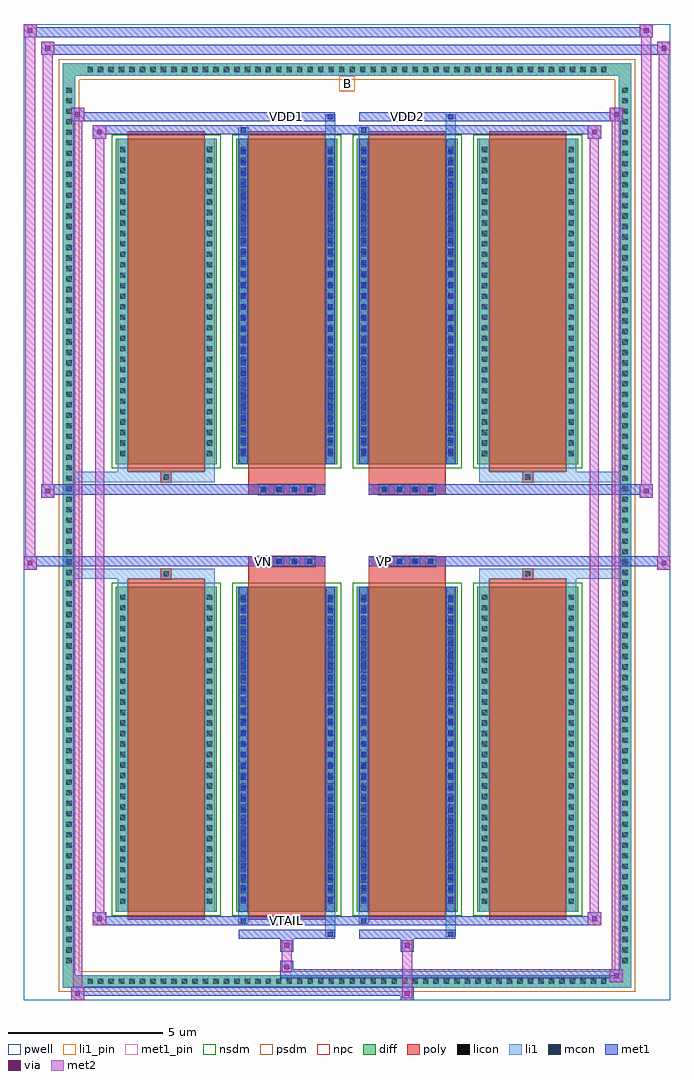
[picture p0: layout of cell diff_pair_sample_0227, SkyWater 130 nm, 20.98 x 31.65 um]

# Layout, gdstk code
import gdstk
lib = gdstk.Library(unit=1e-6, precision=5e-09)
def R(c, l, rs):  # rectangles x0, y0, x1, y1
    for r in rs: c.add(gdstk.rectangle(r[:2], r[2:], *l))
def A(c, l, x, y, w, h, nx, ny, dx, dy):  # array of equal rectangles
    R(c, l, [(x+i*dx, y+j*dy, x+i*dx+w, y+j*dy+h) for i in range(nx) for j in range(ny)])
def P(c, l, *ps):  # polygons
    for p in ps: c.add(gdstk.Polygon(p, *l))
pwell = (64, 44)
diff = (65, 20)
poly = (66, 20)
licon = (66, 44)
li1_pin = (67, 16)
li1 = (67, 20)
mcon = (67, 44)
met1_pin = (68, 16)
met1 = (68, 20)
via = (68, 44)
met2 = (69, 20)
nsdm = (93, 44)
psdm = (94, 20)
npc = (95, 20)

diff_pair_sample_0227 = lib.new_cell('diff_pair_sample_0227')
R(diff_pair_sample_0227, pwell, [(-10.49,-15.39,10.49,16.26), (-7.81,-13.58,-0.01,-0.8), (0.01,-13.58,7.81,-0.8), (-7.81,0.8,-0.01,13.58), (0.01,0.8,7.81,13.58)])
A(diff_pair_sample_0227, diff, -8.535, -14.99, 0.41, 0.41, 50, 2, 0.34, 29.57)
A(diff_pair_sample_0227, diff, -9.22, -14.315, 0.41, 0.41, 1, 84, 0, 0.34)
A(diff_pair_sample_0227, diff, 8.81, -14.315, 0.41, 0.41, 1, 84, 0, 0.34)
A(diff_pair_sample_0227, diff, -7.5, -12.535, 3.27, 10.55, 4, 2, 3.91, 14.52)
R(diff_pair_sample_0227, diff, [(-8.535,-14.99,8.535,-14.58), (-9.22,-14.315,-8.81,14.315), (8.81,-14.315,9.22,14.315), (-8.535,14.58,8.535,14.99)])
P(diff_pair_sample_0227, diff, [(9.22,14.99),(-9.22,14.99),(-9.22,-14.58),(-8.81,-14.58),(-8.81,14.58),(8.81,14.58),(8.81,-14.58),(-8.81,-14.58),(-9.22,-14.58),(-9.22,-14.99),(9.22,-14.99)])
A(diff_pair_sample_0227, poly, -7.11, -12.785, 2.49, 11.05, 4, 2, 3.91, 14.52)
A(diff_pair_sample_0227, poly, -2.87, -1.33, 0.33, 0.33, 4, 2, 0.5, 2.33)
A(diff_pair_sample_0227, poly, 1.04, -1.33, 0.33, 0.33, 4, 2, 0.5, 2.33)
R(diff_pair_sample_0227, poly, [(-6.03,-1.735,-5.7,-1.405), (-6.03,-1.735,-5.7,-1.405), (-3.2,-1.735,-0.71,-1.33), (0.71,-1.735,3.2,-1.33), (5.7,-1.735,6.03,-1.405), (5.7,-1.735,6.03,-1.405), (-3.2,-1.33,-0.71,-1), (0.71,-1.33,3.2,-1), (-3.2,1,-0.71,1.33), (0.71,1,3.2,1.33), (-3.2,1.33,-0.71,1.735), (0.71,1.33,3.2,1.735), (-6.03,1.405,-5.7,1.735), (-6.03,1.405,-5.7,1.735), (5.7,1.405,6.03,1.735), (5.7,1.405,6.03,1.735)])
A(diff_pair_sample_0227, licon, -8.415, -14.87, 0.17, 0.17, 50, 2, 0.34, 29.57)
A(diff_pair_sample_0227, licon, -9.1, -14.195, 0.17, 0.17, 1, 84, 0, 0.34)
A(diff_pair_sample_0227, licon, 8.93, -14.195, 0.17, 0.17, 1, 84, 0, 0.34)
A(diff_pair_sample_0227, licon, -7.36, -12.275, 0.17, 0.17, 1, 30, 0, 0.34)
A(diff_pair_sample_0227, licon, -4.54, -12.275, 0.17, 0.17, 1, 30, 0, 0.34)
A(diff_pair_sample_0227, licon, -3.45, -12.275, 0.17, 0.17, 1, 30, 0, 0.34)
A(diff_pair_sample_0227, licon, -0.63, -12.275, 0.17, 0.17, 1, 30, 0, 0.34)
A(diff_pair_sample_0227, licon, 0.46, -12.275, 0.17, 0.17, 1, 30, 0, 0.34)
A(diff_pair_sample_0227, licon, 3.28, -12.275, 0.17, 0.17, 1, 30, 0, 0.34)
A(diff_pair_sample_0227, licon, 4.37, -12.275, 0.17, 0.17, 1, 30, 0, 0.34)
A(diff_pair_sample_0227, licon, 7.19, -12.275, 0.17, 0.17, 1, 30, 0, 0.34)
A(diff_pair_sample_0227, licon, -2.79, -1.25, 0.17, 0.17, 4, 2, 0.5, 2.33)
A(diff_pair_sample_0227, licon, 1.12, -1.25, 0.17, 0.17, 4, 2, 0.5, 2.33)
A(diff_pair_sample_0227, licon, -7.36, 2.245, 0.17, 0.17, 1, 30, 0, 0.34)
A(diff_pair_sample_0227, licon, -4.54, 2.245, 0.17, 0.17, 1, 30, 0, 0.34)
A(diff_pair_sample_0227, licon, -3.45, 2.245, 0.17, 0.17, 1, 30, 0, 0.34)
A(diff_pair_sample_0227, licon, -0.63, 2.245, 0.17, 0.17, 1, 30, 0, 0.34)
A(diff_pair_sample_0227, licon, 0.46, 2.245, 0.17, 0.17, 1, 30, 0, 0.34)
A(diff_pair_sample_0227, licon, 3.28, 2.245, 0.17, 0.17, 1, 30, 0, 0.34)
A(diff_pair_sample_0227, licon, 4.37, 2.245, 0.17, 0.17, 1, 30, 0, 0.34)
A(diff_pair_sample_0227, licon, 7.19, 2.245, 0.17, 0.17, 1, 30, 0, 0.34)
R(diff_pair_sample_0227, licon, [(-5.95,-1.655,-5.78,-1.485), (5.78,-1.655,5.95,-1.485), (-5.95,1.485,-5.78,1.655), (5.78,1.485,5.95,1.655)])
R(diff_pair_sample_0227, li1_pin, [(-0.25,14.08,0.25,14.58)])
A(diff_pair_sample_0227, li1, -8.495, -14.95, 0.33, 0.33, 50, 2, 0.34, 29.57)
A(diff_pair_sample_0227, li1, -9.18, -14.275, 0.33, 0.33, 1, 84, 0, 0.34)
A(diff_pair_sample_0227, li1, 8.85, -14.275, 0.33, 0.33, 1, 84, 0, 0.34)
A(diff_pair_sample_0227, li1, -7.44, -12.355, 0.33, 0.33, 1, 30, 0, 0.34)
A(diff_pair_sample_0227, li1, -4.62, -12.355, 0.33, 0.33, 1, 30, 0, 0.34)
A(diff_pair_sample_0227, li1, -3.53, -12.355, 0.33, 0.33, 1, 30, 0, 0.34)
A(diff_pair_sample_0227, li1, -0.71, -12.355, 0.33, 0.33, 1, 30, 0, 0.34)
A(diff_pair_sample_0227, li1, 0.38, -12.355, 0.33, 0.33, 1, 30, 0, 0.34)
A(diff_pair_sample_0227, li1, 3.2, -12.355, 0.33, 0.33, 1, 30, 0, 0.34)
A(diff_pair_sample_0227, li1, 4.29, -12.355, 0.33, 0.33, 1, 30, 0, 0.34)
A(diff_pair_sample_0227, li1, 7.11, -12.355, 0.33, 0.33, 1, 30, 0, 0.34)
A(diff_pair_sample_0227, li1, -3.45, -12.205, 0.17, 0.17, 1, 28, 0, 0.36)
A(diff_pair_sample_0227, li1, -0.63, -12.205, 0.17, 0.17, 1, 28, 0, 0.36)
A(diff_pair_sample_0227, li1, 0.46, -12.205, 0.17, 0.17, 1, 28, 0, 0.36)
A(diff_pair_sample_0227, li1, 3.28, -12.205, 0.17, 0.17, 1, 28, 0, 0.36)
A(diff_pair_sample_0227, li1, -2.87, -1.33, 0.33, 0.33, 4, 2, 0.5, 2.33)
A(diff_pair_sample_0227, li1, 1.04, -1.33, 0.33, 0.33, 4, 2, 0.5, 2.33)
A(diff_pair_sample_0227, li1, -7.44, 2.165, 0.33, 0.33, 1, 30, 0, 0.34)
A(diff_pair_sample_0227, li1, -4.62, 2.165, 0.33, 0.33, 1, 30, 0, 0.34)
A(diff_pair_sample_0227, li1, -3.53, 2.165, 0.33, 0.33, 1, 30, 0, 0.34)
A(diff_pair_sample_0227, li1, -0.71, 2.165, 0.33, 0.33, 1, 30, 0, 0.34)
A(diff_pair_sample_0227, li1, 0.38, 2.165, 0.33, 0.33, 1, 30, 0, 0.34)
A(diff_pair_sample_0227, li1, 3.2, 2.165, 0.33, 0.33, 1, 30, 0, 0.34)
A(diff_pair_sample_0227, li1, 4.29, 2.165, 0.33, 0.33, 1, 30, 0, 0.34)
A(diff_pair_sample_0227, li1, 7.11, 2.165, 0.33, 0.33, 1, 30, 0, 0.34)
A(diff_pair_sample_0227, li1, -3.45, 2.315, 0.17, 0.17, 1, 28, 0, 0.36)
A(diff_pair_sample_0227, li1, -0.63, 2.315, 0.17, 0.17, 1, 28, 0, 0.36)
A(diff_pair_sample_0227, li1, 0.46, 2.315, 0.17, 0.17, 1, 28, 0, 0.36)
A(diff_pair_sample_0227, li1, 3.28, 2.315, 0.17, 0.17, 1, 28, 0, 0.36)
R(diff_pair_sample_0227, li1, [(-9.22,-14.99,-8.81,-14.58), (-9.22,-14.99,-8.81,-14.58), (-8.81,-14.99,8.81,-14.58), (8.81,-14.99,9.22,-14.58), (8.81,-14.99,9.22,-14.58), (-9.22,-14.58,-8.81,14.58), (8.81,-14.58,9.22,14.58), (-0.71,-13.34,-0.38,-12.535), (-0.63,-13.34,-0.46,-13.17), (3.2,-13.34,3.53,-12.535), (3.28,-13.34,3.45,-13.17), (-3.53,-12.91,-3.2,-12.535), (-3.45,-12.91,-3.28,-12.74), (0.38,-12.91,0.71,-12.535), (0.46,-12.91,0.63,-12.74), (-7.44,-12.535,-7.11,-1.985), (-4.62,-12.535,-4.29,-1.985), (-3.53,-12.535,-3.2,-1.985), (-0.71,-12.535,-0.38,-1.985), (0.38,-12.535,0.71,-1.985), (3.2,-12.535,3.53,-1.985), (4.29,-12.535,4.62,-1.985), (7.11,-12.535,7.44,-1.985), (-3.45,-12.205,-3.28,-2.315), (-0.63,-12.205,-0.46,-2.315), (0.46,-12.205,0.63,-2.315), (3.28,-12.205,3.45,-2.315), (-7.44,-1.985,-7.11,-1.405), (-4.62,-1.985,-4.29,-1.405), (4.29,-1.985,4.62,-1.405), (7.11,-1.985,7.44,-1.405), (-9.22,-1.735,-6.03,-1.405), (-7.44,-1.735,-6.03,-1.405), (-6.03,-1.735,-5.7,-1.405), (-5.7,-1.735,-4.29,-1.405), (4.29,-1.735,5.7,-1.405), (5.7,-1.735,6.03,-1.405), (5.7,-1.735,9.22,-1.405), (6.03,-1.735,7.44,-1.405), (-9.22,1.405,-6.03,1.735), (-7.44,1.405,-6.03,1.735), (-7.44,1.405,-7.11,1.985), (-6.03,1.405,-5.7,1.735), (-5.7,1.405,-4.29,1.735), (-4.62,1.405,-4.29,1.985), (4.29,1.405,5.7,1.735), (4.29,1.405,4.62,1.985), (5.7,1.405,6.03,1.735), (5.7,1.405,9.22,1.735), (6.03,1.405,7.44,1.735), (7.11,1.405,7.44,1.985), (-7.44,1.985,-7.11,12.535), (-4.62,1.985,-4.29,12.535), (-3.53,1.985,-3.2,12.535), (-0.71,1.985,-0.38,12.535), (0.38,1.985,0.71,12.535), (3.2,1.985,3.53,12.535), (4.29,1.985,4.62,12.535), (7.11,1.985,7.44,12.535), (-3.45,2.315,-3.28,12.205), (-0.63,2.315,-0.46,12.205), (0.46,2.315,0.63,12.205), (3.28,2.315,3.45,12.205), (-3.53,12.535,-3.2,12.91), (-0.71,12.535,-0.38,13.34), (0.38,12.535,0.71,12.91), (3.2,12.535,3.53,13.34), (-3.45,12.74,-3.28,12.91), (0.46,12.74,0.63,12.91), (-0.63,13.17,-0.46,13.34), (3.28,13.17,3.45,13.34), (-9.22,14.58,-8.81,14.99), (-9.22,14.58,-8.81,14.99), (-8.81,14.58,8.81,14.99), (8.81,14.58,9.22,14.99), (8.81,14.58,9.22,14.99)])
A(diff_pair_sample_0227, mcon, -3.45, -12.205, 0.17, 0.17, 1, 28, 0, 0.36)
A(diff_pair_sample_0227, mcon, -0.63, -12.205, 0.17, 0.17, 1, 28, 0, 0.36)
A(diff_pair_sample_0227, mcon, 0.46, -12.205, 0.17, 0.17, 1, 28, 0, 0.36)
A(diff_pair_sample_0227, mcon, 3.28, -12.205, 0.17, 0.17, 1, 28, 0, 0.36)
A(diff_pair_sample_0227, mcon, -2.79, -1.25, 0.17, 0.17, 4, 2, 0.5, 2.33)
A(diff_pair_sample_0227, mcon, 1.12, -1.25, 0.17, 0.17, 4, 2, 0.5, 2.33)
A(diff_pair_sample_0227, mcon, -3.45, 2.315, 0.17, 0.17, 1, 28, 0, 0.36)
A(diff_pair_sample_0227, mcon, -0.63, 2.315, 0.17, 0.17, 1, 28, 0, 0.36)
A(diff_pair_sample_0227, mcon, 0.46, 2.315, 0.17, 0.17, 1, 28, 0, 0.36)
A(diff_pair_sample_0227, mcon, 3.28, 2.315, 0.17, 0.17, 1, 28, 0, 0.36)
R(diff_pair_sample_0227, mcon, [(-0.63,-13.34,-0.46,-13.17), (3.28,-13.34,3.45,-13.17), (-3.45,-12.91,-3.28,-12.74), (0.46,-12.91,0.63,-12.74), (-3.45,12.74,-3.28,12.91), (0.46,12.74,0.63,12.91), (-0.63,13.17,-0.46,13.34), (3.28,13.17,3.45,13.34)])
R(diff_pair_sample_0227, met1_pin, [(-2.09,-12.95,-1.82,-12.68), (-2.84,-1.29,-2.57,-1.02), (1.07,-1.29,1.34,-1.02), (-2.09,13.13,-1.82,13.4), (1.82,13.13,2.09,13.4)])
A(diff_pair_sample_0227, met1, -3.51, -12.265, 0.29, 0.29, 1, 28, 0, 0.36)
A(diff_pair_sample_0227, met1, -0.69, -12.265, 0.29, 0.29, 1, 28, 0, 0.36)
A(diff_pair_sample_0227, met1, 0.4, -12.265, 0.29, 0.29, 1, 28, 0, 0.36)
A(diff_pair_sample_0227, met1, 3.22, -12.265, 0.29, 0.29, 1, 28, 0, 0.36)
A(diff_pair_sample_0227, met1, -2.85, -1.31, 0.29, 0.29, 4, 2, 0.5, 2.33)
A(diff_pair_sample_0227, met1, 1.06, -1.31, 0.29, 0.29, 4, 2, 0.5, 2.33)
A(diff_pair_sample_0227, met1, -3.51, 2.255, 0.29, 0.29, 1, 28, 0, 0.36)
A(diff_pair_sample_0227, met1, -0.69, 2.255, 0.29, 0.29, 1, 28, 0, 0.36)
A(diff_pair_sample_0227, met1, 0.4, 2.255, 0.29, 0.29, 1, 28, 0, 0.36)
A(diff_pair_sample_0227, met1, 3.22, 2.255, 0.29, 0.29, 1, 28, 0, 0.36)
R(diff_pair_sample_0227, met1, [(-8.95,-15.39,-8.52,-14.96), (1.74,-15.39,2.17,-14.96), (-8.95,-15.25,2.17,-14.96), (8.52,-14.82,8.95,-14.39), (-2.17,-14.68,8.95,-14.39), (-2.17,-14.54,-1.74,-14.11), (-2.17,-13.83,-1.74,-13.4), (1.74,-13.83,2.17,-13.4), (-3.51,-13.4,-0.4,-13.11), (-0.69,-13.4,-0.4,-13.11), (0.4,-13.4,3.51,-13.11), (3.22,-13.4,3.51,-13.11), (-8.24,-12.97,-7.81,-12.54), (-8.24,-12.97,-3.51,-12.68), (-3.51,-12.97,-3.22,-12.68), (-3.51,-12.97,-0.4,-12.68), (-0.4,-12.97,0.4,-12.68), (0.4,-12.97,0.69,-12.68), (0.4,-12.97,3.51,-12.68), (3.51,-12.97,8.24,-12.68), (7.81,-12.97,8.24,-12.54), (-3.51,-12.535,-3.22,-1.985), (-0.69,-12.535,-0.4,-1.985), (0.4,-12.535,0.69,-1.985), (3.22,-12.535,3.51,-1.985), (-10.49,-1.43,-10.06,-1), (10.06,-1.43,10.49,-1), (-10.49,-1.33,-0.71,-1), (-3.2,-1.33,-0.71,-1), (0.71,-1.33,3.2,-1), (0.71,-1.33,10.49,-1), (-9.92,0.9,-9.49,1.33), (9.49,0.9,9.92,1.33), (-9.92,1,-3.2,1.33), (-3.2,1,-0.71,1.33), (0.71,1,3.2,1.33), (3.2,1,9.92,1.33), (-3.51,1.985,-3.22,12.535), (-0.69,1.985,-0.4,12.535), (0.4,1.985,0.69,12.535), (3.22,1.985,3.51,12.535), (-8.24,12.54,-7.81,12.97), (7.81,12.54,8.24,12.97), (-8.24,12.68,-3.51,12.97), (-3.51,12.68,-3.22,12.97), (-3.51,12.68,-0.4,12.97), (-0.4,12.68,0.4,12.97), (0.4,12.68,0.69,12.97), (0.4,12.68,3.51,12.97), (3.51,12.68,8.24,12.97), (-8.95,13.11,-8.52,13.54), (-8.95,13.11,-3.51,13.4), (-3.51,13.11,-0.4,13.4), (-0.69,13.11,-0.4,13.4), (0.4,13.11,3.51,13.4), (3.22,13.11,3.51,13.4), (3.51,13.11,8.95,13.4), (8.52,13.11,8.95,13.54), (-9.92,15.26,-9.49,15.69), (-9.92,15.26,-7.81,15.59), (-7.81,15.26,7.81,15.59), (7.81,15.26,10.49,15.59), (10.06,15.26,10.49,15.69), (-10.49,15.83,-10.06,16.26), (-10.49,15.83,-7.81,16.16), (-7.81,15.83,7.81,16.16), (7.81,15.83,9.92,16.16), (9.49,15.83,9.92,16.26)])
R(diff_pair_sample_0227, via, [(-8.81,-15.25,-8.66,-15.1), (1.88,-15.25,2.03,-15.1), (8.66,-14.68,8.81,-14.53), (-2.03,-14.4,-1.88,-14.25), (-2.03,-13.69,-1.88,-13.54), (1.88,-13.69,2.03,-13.54), (-8.1,-12.83,-7.95,-12.68), (7.95,-12.83,8.1,-12.68), (-10.35,-1.29,-10.2,-1.14), (10.2,-1.29,10.35,-1.14), (-9.78,1.04,-9.63,1.19), (9.63,1.04,9.78,1.19), (-8.1,12.68,-7.95,12.83), (7.95,12.68,8.1,12.83), (-8.81,13.25,-8.66,13.4), (8.66,13.25,8.81,13.4), (-9.78,15.4,-9.63,15.55), (10.2,15.4,10.35,15.55), (-10.35,15.97,-10.2,16.12), (9.63,15.97,9.78,16.12)])
R(diff_pair_sample_0227, met2, [(-8.95,-15.39,-8.52,-14.96), (-8.88,-15.39,-8.59,13.54), (-8.59,-15.39,-8.52,-14.96), (-8.9,-15.34,-8.57,-15.01), (1.79,-15.34,2.12,-15.01), (1.79,-15.01,2.12,-13.78), (8.52,-14.82,8.95,-14.39), (8.59,-14.82,8.88,13.54), (8.88,-14.82,8.95,-14.39), (8.57,-14.77,8.9,-14.44), (-2.12,-14.49,-1.79,-14.16), (-2.12,-14.16,-1.79,-13.78), (-2.12,-13.78,-1.79,-13.45), (1.79,-13.78,2.12,-13.45), (-8.24,-12.97,-7.81,-12.54), (-8.17,-12.97,-7.88,12.97), (-7.88,-12.97,-7.81,-12.54), (7.81,-12.97,8.24,-12.54), (7.88,-12.97,8.17,12.97), (8.17,-12.97,8.24,-12.54), (-8.19,-12.92,-7.86,-12.59), (7.86,-12.92,8.19,-12.59), (-10.49,-1.43,-10.06,-1), (-10.44,-1.43,-10.11,16.26), (-10.11,-1.43,-10.06,-1), (10.06,-1.43,10.49,-1), (10.11,-1.43,10.44,15.69), (10.44,-1.43,10.49,-1), (-10.44,-1.38,-10.11,-1.05), (10.11,-1.38,10.44,-1.05), (-9.92,0.9,-9.49,1.33), (-9.87,0.9,-9.54,15.69), (-9.54,0.9,-9.49,1.33), (9.49,0.9,9.92,1.33), (9.54,0.9,9.87,16.26), (9.87,0.9,9.92,1.33), (-9.87,0.95,-9.54,1.28), (9.54,0.95,9.87,1.28), (-8.24,12.54,-7.81,12.97), (-7.88,12.54,-7.81,12.97), (7.81,12.54,8.24,12.97), (8.17,12.54,8.24,12.97), (-8.19,12.59,-7.86,12.92), (7.86,12.59,8.19,12.92), (-8.95,13.11,-8.52,13.54), (-8.59,13.11,-8.52,13.54), (8.52,13.11,8.95,13.54), (8.88,13.11,8.95,13.54), (-8.9,13.16,-8.57,13.49), (8.57,13.16,8.9,13.49), (-9.92,15.26,-9.49,15.69), (-9.54,15.26,-9.49,15.69), (10.06,15.26,10.49,15.69), (10.44,15.26,10.49,15.69), (-9.87,15.31,-9.54,15.64), (10.11,15.31,10.44,15.64), (-10.49,15.83,-10.06,16.26), (-10.11,15.83,-10.06,16.26), (9.49,15.83,9.92,16.26), (9.87,15.83,9.92,16.26), (-10.44,15.88,-10.11,16.21), (9.54,15.88,9.87,16.21)])
A(diff_pair_sample_0227, nsdm, -7.63, -12.665, 3.53, 10.81, 4, 2, 3.91, 14.52)
P(diff_pair_sample_0227, psdm, [(9.35,15.12),(-9.35,15.12),(-9.35,-14.45),(-8.68,-14.45),(-8.68,14.45),(8.68,14.45),(8.68,-14.45),(-8.68,-14.45),(-9.35,-14.45),(-9.35,-15.12),(9.35,-15.12)])
A(diff_pair_sample_0227, npc, -2.89, -1.35, 0.37, 0.37, 4, 2, 0.5, 2.33)
A(diff_pair_sample_0227, npc, 1.02, -1.35, 0.37, 0.37, 4, 2, 0.5, 2.33)
R(diff_pair_sample_0227, npc, [(-6.05,-1.755,-5.68,-1.385), (5.68,-1.755,6.05,-1.385), (-2.89,-1.35,-2.02,-0.98), (-2.89,-1.35,-2.02,-0.98), (-2.39,-1.35,-1.52,-0.98), (-2.39,-1.35,-1.52,-0.98), (-1.89,-1.35,-1.02,-0.98), (-1.89,-1.35,-1.02,-0.98), (1.02,-1.35,1.89,-0.98), (1.02,-1.35,1.89,-0.98), (1.52,-1.35,2.39,-0.98), (1.52,-1.35,2.39,-0.98), (2.02,-1.35,2.89,-0.98), (2.02,-1.35,2.89,-0.98), (-2.89,0.98,-2.02,1.35), (-2.89,0.98,-2.02,1.35), (-2.39,0.98,-1.52,1.35), (-2.39,0.98,-1.52,1.35), (-1.89,0.98,-1.02,1.35), (-1.89,0.98,-1.02,1.35), (1.02,0.98,1.89,1.35), (1.02,0.98,1.89,1.35), (1.52,0.98,2.39,1.35), (1.52,0.98,2.39,1.35), (2.02,0.98,2.89,1.35), (2.02,0.98,2.89,1.35), (-6.05,1.385,-5.68,1.755), (5.68,1.385,6.05,1.755)])
diff_pair_sample_0227.add(gdstk.Label('VTAIL', (-1.955,-12.815), layer=68, texttype=5))
diff_pair_sample_0227.add(gdstk.Label('VN', (-2.705,-1.155), layer=68, texttype=5))
diff_pair_sample_0227.add(gdstk.Label('VP', (1.205,-1.155), layer=68, texttype=5))
diff_pair_sample_0227.add(gdstk.Label('B', (0,14.33), layer=67, texttype=5))
diff_pair_sample_0227.add(gdstk.Label('VDD2', (1.955,13.265), layer=68, texttype=5))
diff_pair_sample_0227.add(gdstk.Label('VDD1', (-1.955,13.265), layer=68, texttype=5))

lib.write_gds('diff_pair_sample_0227.gds')
